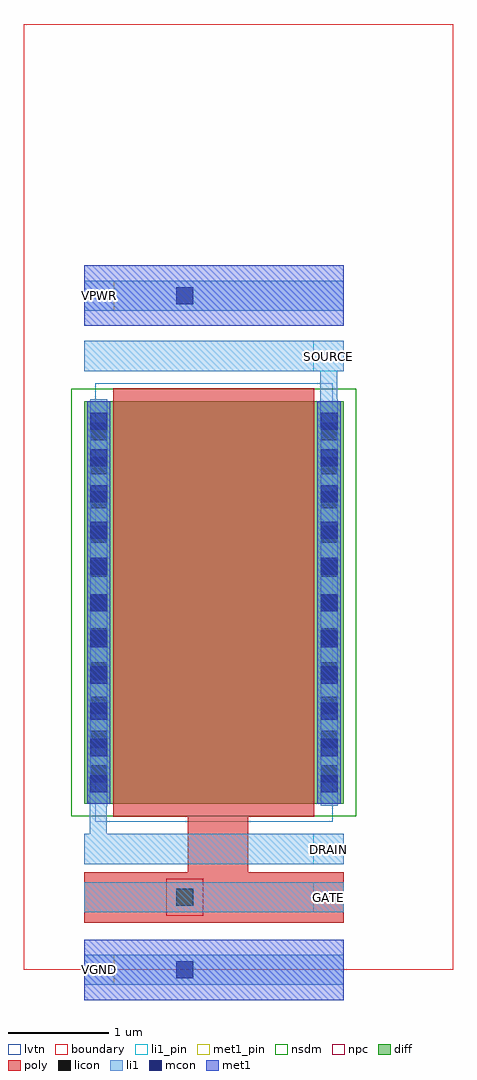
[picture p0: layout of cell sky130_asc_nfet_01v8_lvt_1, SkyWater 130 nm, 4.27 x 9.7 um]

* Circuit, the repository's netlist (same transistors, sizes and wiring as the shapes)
* NGSPICE file created from sky130_asc_nfet_01v8_lvt_1.ext - technology: sky130A

.subckt sky130_asc_nfet_01v8_lvt_1 GATE SOURCE DRAIN VPWR VGND
X0 SOURCE GATE DRAIN VSUBS sky130_fd_pr__nfet_01v8_lvt ad=1.16e+12p pd=8.58e+06u as=1.16e+12p ps=8.58e+06u w=4e+06u l=2e+06u
.ends

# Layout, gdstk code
import gdstk
lib = gdstk.Library(unit=1e-6, precision=1e-09)
def R(c, l, rs):  # rectangles x0, y0, x1, y1
    for r in rs: c.add(gdstk.rectangle(r[:2], r[2:], *l))
def A(c, l, x, y, w, h, nx, ny, dx, dy):  # array of equal rectangles
    R(c, l, [(x+i*dx, y+j*dy, x+i*dx+w, y+j*dy+h) for i in range(nx) for j in range(ny)])
diff = (65, 20)
poly = (66, 20)
licon = (66, 44)
li1_pin = (67, 16)
li1 = (67, 20)
mcon = (67, 44)
met1_pin = (68, 16)
met1 = (68, 20)
nsdm = (93, 44)
npc = (95, 20)
lvtn = (125, 44)
boundary = (235, 4)

sky130_asc_nfet_01v8_lvt = lib.new_cell('sky130_asc_nfet_01v8_lvt_1')
R(sky130_asc_nfet_01v8_lvt, diff, [(0.6,1.65,3.18,5.65)])
R(sky130_asc_nfet_01v8_lvt, poly, [(0.6,0.47,3.18,0.97), (1.63,0.97,2.23,1.52), (0.89,1.52,2.89,5.78)])
A(sky130_asc_nfet_01v8_lvt, licon, 0.66, 1.865, 0.17, 0.17, 1, 11, 0, 0.34)
A(sky130_asc_nfet_01v8_lvt, licon, 2.95, 1.865, 0.17, 0.17, 1, 11, 0, 0.34)
R(sky130_asc_nfet_01v8_lvt, licon, [(1.515,0.635,1.685,0.805)])
R(sky130_asc_nfet_01v8_lvt, li1_pin, [(2.88,0.57,3.18,0.87), (2.88,1.05,3.18,1.35), (2.88,5.95,3.18,6.25)])
R(sky130_asc_nfet_01v8_lvt, li1, [(0.6,-0.15,3.18,0.15), (0.6,0.57,3.18,0.87), (0.6,1.05,3.18,1.35), (0.655,1.35,0.825,1.63), (0.655,1.63,0.83,1.92), (2.95,1.63,3.12,5.38), (0.66,1.92,0.83,5.67), (2.945,5.38,3.12,5.67), (2.945,5.67,3.115,5.95), (0.6,5.95,3.18,6.25), (0.6,6.55,3.18,6.85)])
A(sky130_asc_nfet_01v8_lvt, mcon, 0.66, 1.765, 0.17, 0.17, 1, 11, 0, 0.36)
A(sky130_asc_nfet_01v8_lvt, mcon, 2.95, 1.765, 0.17, 0.17, 1, 11, 0, 0.36)
R(sky130_asc_nfet_01v8_lvt, mcon, [(1.515,-0.085,1.685,0.085), (1.515,6.615,1.685,6.785)])
R(sky130_asc_nfet_01v8_lvt, met1_pin, [(0.6,-0.15,0.9,0.15), (0.6,6.55,0.9,6.85)])
R(sky130_asc_nfet_01v8_lvt, met1, [(0.6,-0.3,3.18,0.3), (0.63,1.65,0.86,5.65), (2.92,1.65,3.15,5.65), (0.6,6.4,3.18,7)])
R(sky130_asc_nfet_01v8_lvt, nsdm, [(0.475,1.525,3.305,5.775)])
R(sky130_asc_nfet_01v8_lvt, npc, [(1.415,0.535,1.785,0.905)])
R(sky130_asc_nfet_01v8_lvt, lvtn, [(0.71,1.47,3.07,5.83)])
R(sky130_asc_nfet_01v8_lvt, boundary, [(0,0,4.27,9.4)])
sky130_asc_nfet_01v8_lvt.add(gdstk.Label('GATE', (3.03,0.72), layer=67, texttype=16))
sky130_asc_nfet_01v8_lvt.add(gdstk.Label('SOURCE', (3.03,6.1), layer=67, texttype=16))
sky130_asc_nfet_01v8_lvt.add(gdstk.Label('DRAIN', (3.03,1.2), layer=67, texttype=16))
sky130_asc_nfet_01v8_lvt.add(gdstk.Label('VPWR', (0.75,6.7), layer=68, texttype=16))
sky130_asc_nfet_01v8_lvt.add(gdstk.Label('VGND', (0.75,0), layer=68, texttype=16))

lib.write_gds('sky130_asc_nfet_01v8_lvt_1.gds')
